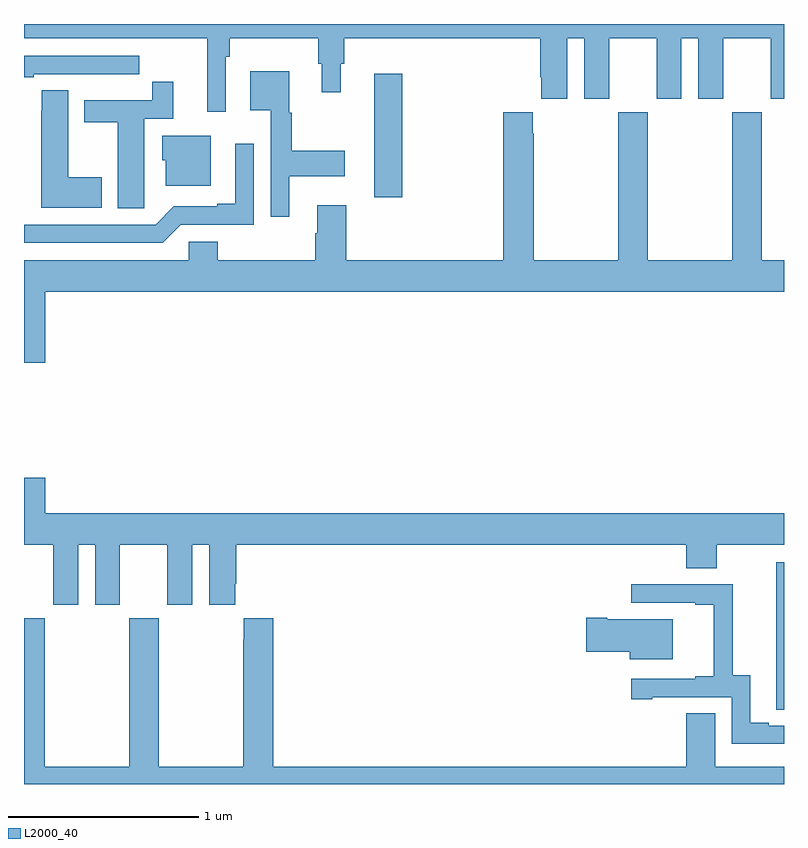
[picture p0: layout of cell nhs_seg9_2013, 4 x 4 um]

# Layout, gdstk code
import gdstk
lib = gdstk.Library(unit=1e-6, precision=1e-09)
def R(c, l, rs):  # rectangles x0, y0, x1, y1
    for r in rs: c.add(gdstk.rectangle(r[:2], r[2:], *l))
def P(c, l, *ps):  # polygons
    for p in ps: c.add(gdstk.Polygon(p, *l))
L2000_40 = (2000, 40)

nhs_seg9_2013 = lib.new_cell('nhs_seg9_2013')
R(nhs_seg9_2013, L2000_40, [(226.844,1191.588,226.991,1192.237)])
P(nhs_seg9_2013, L2000_40, [(226.549,1192.29),(226.568,1192.29),(226.568,1192.14),(226.666,1192.14),(226.666,1192.29),(226.685,1192.29),(226.685,1192.424),(227.717,1192.424),(227.717,1192.219),(227.723,1192.219),(227.723,1192.107),(227.86,1192.107),(227.86,1192.424),(227.948,1192.424),(227.948,1192.107),(228.079,1192.107),(228.079,1192.424),(228.329,1192.424),(228.329,1192.107),(228.46,1192.107),(228.46,1192.424),(228.548,1192.424),(228.548,1192.107),(228.679,1192.107),(228.679,1192.424),(228.929,1192.424),(228.929,1192.107),(229,1192.107),(229,1192.5),(225,1192.5),(225,1192.424),(225.965,1192.424),(225.965,1192.038),(226.062,1192.038),(226.062,1192.328),(226.082,1192.328),(226.082,1192.424),(226.549,1192.424)],
  [(225.052,1192.236),(225.328,1192.236),(225.328,1192.235),(225.494,1192.235),(225.494,1192.236),(225.607,1192.236),(225.607,1192.332),(225,1192.332),(225,1192.221),(225.052,1192.221)],
  [(226.396,1191.698),(226.687,1191.698),(226.687,1191.833),(226.408,1191.833),(226.408,1192.032),(226.396,1192.032),(226.396,1192.252),(226.19,1192.252),(226.19,1192.046),(226.299,1192.046),(226.299,1191.486),(226.396,1191.486)],
  [(225.633,1191.64),(225.634,1191.64),(225.634,1192.002),(225.785,1192.002),(225.785,1192.195),(225.676,1192.195),(225.676,1192.098),(225.317,1192.098),(225.317,1191.982),(225.494,1191.982),(225.494,1191.529),(225.633,1191.529)],
  [(225.409,1191.693),(225.232,1191.693),(225.232,1192.151),(225.093,1192.151),(225.093,1192.043),(225.092,1192.043),(225.092,1191.533),(225.409,1191.533)],
  [(225.112,1191.092),(229,1191.092),(229,1191.256),(228.882,1191.256),(228.882,1192.036),(228.727,1192.036),(228.727,1191.256),(228.282,1191.256),(228.282,1192.036),(228.127,1192.036),(228.127,1191.256),(227.682,1191.256),(227.682,1191.923),(227.677,1191.923),(227.677,1192.036),(227.522,1192.036),(227.522,1191.256),(226.697,1191.256),(226.697,1191.547),(226.544,1191.547),(226.544,1191.398),(226.532,1191.398),(226.532,1191.256),(226.019,1191.256),(226.019,1191.354),(225.867,1191.354),(225.867,1191.256),(225,1191.256),(225,1190.718),(225.112,1190.718)],
  [(225.982,1191.913),(225.728,1191.913),(225.728,1191.783),(225.746,1191.783),(225.746,1191.65),(225.982,1191.65)],
  [(225.825,1191.444),(226.209,1191.444),(226.209,1191.871),(226.112,1191.871),(226.112,1191.553),(226.016,1191.553),(226.016,1191.54),(225.789,1191.54),(225.693,1191.444),(225,1191.444),(225,1191.348),(225.729,1191.348)],
  [(225.286,1189.76),(225.374,1189.76),(225.374,1189.443),(225.505,1189.443),(225.505,1189.76),(225.755,1189.76),(225.755,1189.443),(225.886,1189.443),(225.886,1189.76),(225.974,1189.76),(225.974,1189.443),(226.111,1189.443),(226.111,1189.555),(226.118,1189.555),(226.118,1189.76),(228.485,1189.76),(228.485,1189.636),(228.645,1189.636),(228.645,1189.76),(229,1189.76),(229,1189.924),(225.112,1189.924),(225.112,1190.113),(225,1190.113),(225,1189.76),(225.155,1189.76),(225.155,1189.443),(225.286,1189.443)],
  [(229,1189.668),(228.959,1189.668),(228.959,1189),(228.96,1189),(228.96,1188.892),(229,1188.892)],
  [(229,1188.807),(228.919,1188.807),(228.919,1188.822),(228.823,1188.822),(228.823,1189.073),(228.729,1189.073),(228.729,1189.551),(228.195,1189.551),(228.195,1189.455),(228.533,1189.455),(228.533,1189.443),(228.629,1189.443),(228.629,1189.066),(228.533,1189.066),(228.533,1189.053),(228.195,1189.053),(228.195,1188.945),(228.307,1188.945),(228.307,1188.957),(228.726,1188.957),(228.726,1188.711),(229,1188.711)],
  [(228.415,1189.366),(228.07,1189.366),(228.07,1189.374),(227.958,1189.374),(227.958,1189.196),(228.188,1189.196),(228.188,1189.157),(228.415,1189.157)],
  [(229,1188.592),(228.637,1188.592),(228.637,1188.872),(228.485,1188.872),(228.485,1188.592),(226.313,1188.592),(226.313,1189.372),(226.157,1189.372),(226.157,1189.259),(226.153,1189.259),(226.153,1188.592),(225.708,1188.592),(225.708,1189.372),(225.553,1189.372),(225.553,1188.592),(225.108,1188.592),(225.108,1189.372),(225,1189.372),(225,1188.5),(229,1188.5)])

lib.write_gds('nhs_seg9_2013.gds')
